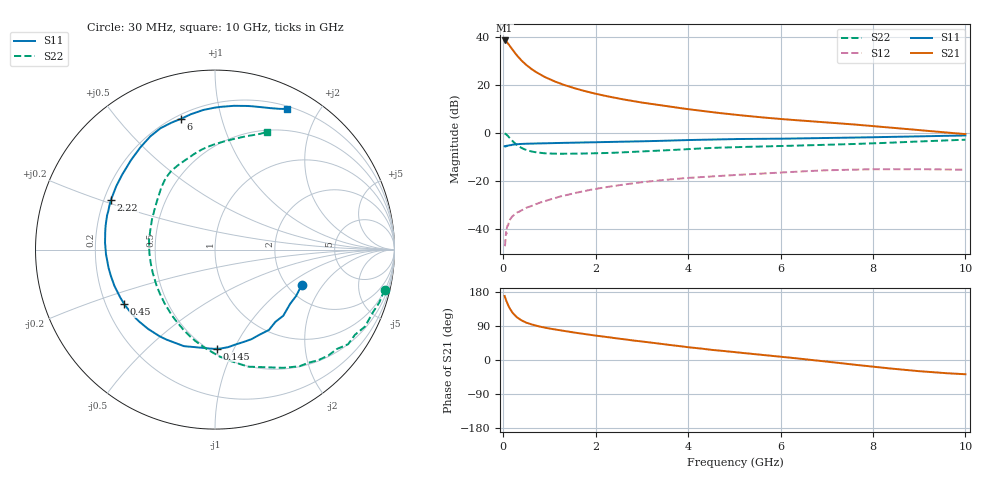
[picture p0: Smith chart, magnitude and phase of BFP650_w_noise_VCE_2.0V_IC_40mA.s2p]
! Infineon Technologies  Discrete & RF Semiconductors
! BFP650
! VCE =  2.0 V,  IC =  40 mA
! Common Emitter S-Parameters:  Jan 2016
# GHz  S  MA  R  50
!  f  S11  S21  S12  S22
! GHz  MAG  ANG  MAG  ANG  MAG  ANG  MAG  ANG
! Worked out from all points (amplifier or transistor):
!   229 points, 30 MHz to 10 GHz, reference 50 ohm
!   highest |S21| = 38.6 dB at 30 MHz (marker M1)
!   |S21| within 3 dB of that: start of sweep to 169.5 MHz
!   unconditionally stable (mu >= 1): 2.039 GHz to end of sweep
!   at 280 MHz: K = 0.40, MSG = 33.2 dB, |S12| = -33.6 dB
!   at 1.78 GHz: K = 0.98, MSG = 20.8 dB, |S12| = -24.3 dB
!   at 10 GHz: K = 1.03, MAG = 6.3 dB, |S12| = -15.4 dB
!   lowest NFmin = 0.87 dB at 450 MHz
!   S11 on the Smith chart (normalised r, x): 30 MHz: 2.39, -1.29; 145 MHz: 0.54, -0.86; 450 MHz: 0.28, -0.26; 2.22 GHz: 0.23, +0.22; 6 GHz: 0.22, +0.75; 10 GHz: 0.23, +1.61
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0.03  0.5225 -22.1  84.63 168.8  0.0043 81.6  0.9711 -13.3
0.04  0.5204 -29.9  84.22 165.1  0.0046 74.2  0.9615 -17.9
0.05  0.5164 -35.8  82.24 161.5  0.0059 103.7  0.9469 -21.6
0.06  0.5296 -44.1  81.63 158.6  0.0085 72.8  0.9392 -27.2
0.08  0.5391 -56.1  78 152.1  0.0106 81.8  0.9099 -35.4
0.11  0.5386 -72.6  72.04 143.6  0.0121 57.3  0.8439 -46.8
0.145  0.5521 -88.9  64.66 135.5  0.0152 61.9  0.7705 -58.5
0.2  0.5652 -107.9  54.55 124.9  0.0182 56.5  0.678 -74.2
0.26  0.5731 -122.5  45.73 116.8  0.0201 53.0  0.5964 -87.5
0.34  0.5821 -136.2  36.86 108.9  0.0224 47.8  0.5213 -102.0
0.45  0.5902 -148.9  28.73 101.2  0.0254 47.6  0.4572 -117.4
0.6  0.5958 -160.3  21.83 94.3  0.0294 48.9  0.4104 -133.2
0.9  0.6038 -174.1  14.6 85.4  0.0377 51.0  0.3737 -154.5
1.22  0.6141 176.0  10.79 78.4  0.0465 50.4  0.3655 -169.5
1.7  0.627 164.6  7.718 69.6  0.0594 48.7  0.3688 174.7
2.22  0.6424 154.4  5.872 61.1  0.0733 45.0  0.3784 161.8
3.4  0.6787 134.8  3.749 42.8  0.1018 34.0  0.4238 139.4
5.1  0.7422 113.1  2.338 19.6  0.1328 17.9  0.5039 117.9
6  0.7531 104.5  1.941 8.6  0.1482 9.8  0.529 107.0
6.8  0.7742 96.9  1.706 -1.4  0.1619 1.5  0.5557 99.2
8.4  0.82 77.4  1.279 -22.7  0.1737 -15.9  0.6227 80.9
10  0.8794 63.0  0.94 -37.6  0.1695 -28.1  0.7164 66.3
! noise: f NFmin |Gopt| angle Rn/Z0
0.45  0.87  0.11  163  1.38
0.9  0.89  0.36  -170  0.07
1.9  1.03  0.4  -155  0.06
2.4  1.11  0.4  -145  0.07
3.5  1.31  0.43  -122  0.13
